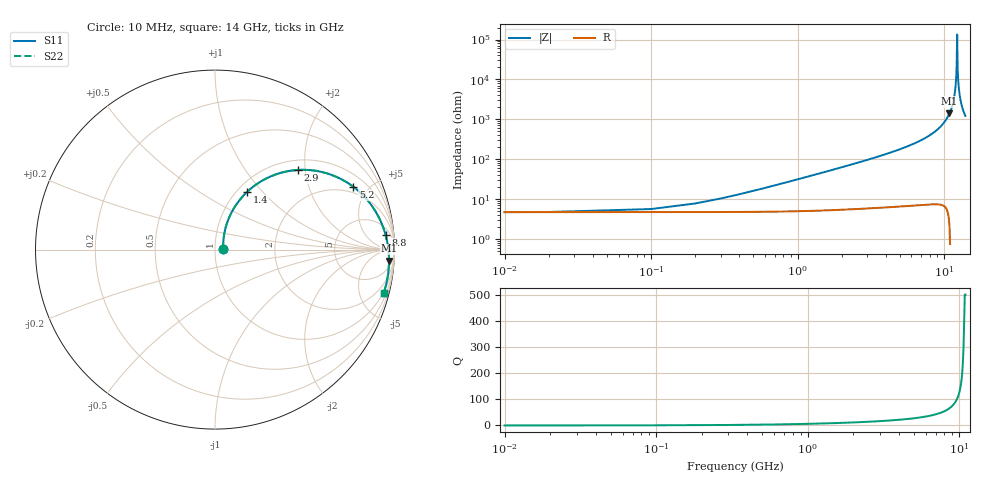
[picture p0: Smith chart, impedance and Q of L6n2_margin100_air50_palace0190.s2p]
! Created with skrf 2.2.0 (http://scikit-rf.org).
# GHz S DB R 50.0
! Port[1] = P1
! Port[2] = P2
!freq dBS11 angS11 dBS21 angS21 dBS12 angS12 dBS22 angS22
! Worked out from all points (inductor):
!   142 points, 10 MHz to 14 GHz, reference 50 ohm
!   read as one part in series: L = 4.86 nH near 500 MHz
!   highest Q = 662 at 10.9 GHz (marker M1), where L = 20.4 nH
!   self-resonance near 12.2 GHz
!   S11 on the Smith chart (normalised r, x): 10 MHz: 1.09, +0.01; 1.4 GHz: 1.11, +0.83; 2.9 GHz: 1.21, +1.82; 5.2 GHz: 1.62, +4.01; 8.8 GHz: 10, +18; 14 GHz: 0.92, -7.71
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0.01  -26.97 3.3  -0.40 -0.2  -0.40 -0.2  -26.97 3.3
0.6  -15.48 65.9  -0.58 -10.5  -0.58 -10.5  -15.48 65.9
1.4  -8.69 60.9  -1.17 -23.3  -1.17 -23.3  -8.69 60.9
2.4  -4.97 49.3  -2.31 -37.1  -2.31 -37.1  -4.97 49.3
2.9  -3.88 43.9  -3.00 -43.1  -3.00 -43.1  -3.88 43.9
4.7  -1.76 28.0  -5.85 -60.1  -5.85 -60.1  -1.76 28.0
5.2  -1.44 24.4  -6.72 -63.9  -6.72 -63.9  -1.44 24.4
7.1  -0.71 13.0  -10.37 -75.8  -10.37 -75.8  -0.71 13.0
8.8  -0.41 4.9  -14.50 -84.3  -14.50 -84.3  -0.41 4.9
9.4  -0.34 2.3  -16.35 -87.1  -16.35 -87.1  -0.34 2.3
10.9  -0.25 -3.6  -23.15 -93.5  -23.15 -93.5  -0.25 -3.6
11.4  -0.24 -5.5  -27.15 -95.7  -27.15 -95.7  -0.24 -5.5
11.7  -0.23 -6.6  -30.79 -97.2  -30.79 -97.2  -0.23 -6.6
11.9  -0.23 -7.3  -34.42 -98.6  -34.42 -98.6  -0.23 -7.3
12.1  -0.23 -8.0  -40.68 -101.2  -40.68 -101.2  -0.23 -8.0
12.2  -0.23 -8.4  -47.09 -105.5  -47.09 -105.5  -0.23 -8.4
12.3  -0.23 -8.7  -62.80 134.9  -62.80 134.9  -0.23 -8.7
12.4  -0.23 -9.1  -45.58 87.6  -45.58 87.6  -0.23 -9.1
12.5  -0.23 -9.4  -39.99 84.3  -39.99 84.3  -0.23 -9.4
12.7  -0.23 -10.1  -34.21 81.9  -34.21 81.9  -0.23 -10.1
13.2  -0.24 -11.9  -27.38 79.2  -27.38 79.2  -0.24 -11.9
14  -0.26 -14.6  -22.04 76.0  -22.04 76.0  -0.26 -14.6
